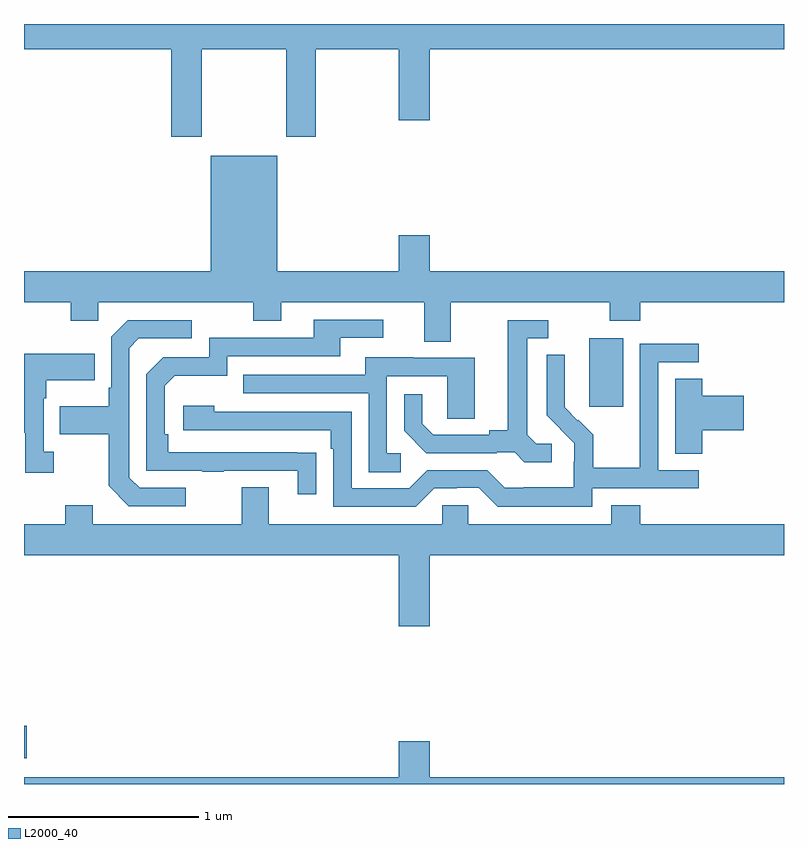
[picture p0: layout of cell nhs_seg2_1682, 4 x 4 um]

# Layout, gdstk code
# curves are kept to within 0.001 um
import gdstk
lib = gdstk.Library(unit=1e-6, precision=1e-09)
def R(c, l, rs):  # rectangles x0, y0, x1, y1
    for r in rs: c.add(gdstk.rectangle(r[:2], r[2:], *l))
def P(c, l, *ps):  # polygons
    for p in ps: c.add(gdstk.Polygon(p, *l))
L2000_40 = (2000, 40)

nhs_seg2_1682 = lib.new_cell('nhs_seg2_1682')
R(nhs_seg2_1682, L2000_40, [(199,611.936,199.015,612.107), (201.974,613.785,202.153,614.146)])
P(nhs_seg2_1682, L2000_40, [(199.935,615.668),(200.38,615.668),(200.38,615.207),(200.535,615.207),(200.535,615.668),(200.972,615.668),(200.972,615.294),(201.136,615.294),(201.136,615.668),(203,615.668),(203,615.8),(199,615.8),(199,615.668),(199.775,615.668),(199.775,615.207),(199.935,615.207)],
  [(201.247,614.336),(202.084,614.336),(202.084,614.237),(202.244,614.237),(202.244,614.336),(203,614.336),(203,614.5),(201.136,614.5),(201.136,614.689),(200.972,614.689),(200.972,614.5),(200.332,614.5),(200.332,615.106),(199.982,615.106),(199.982,614.5),(199,614.5),(199,614.336),(199.246,614.336),(199.246,614.237),(199.392,614.237),(199.392,614.336),(200.206,614.336),(200.206,614.237),(200.353,614.237),(200.353,614.336),(201.107,614.336),(201.107,614.128),(201.247,614.128)],
  [(200.537,613.544),(199.76,613.545),(199.76,613.642),(199.74,613.642),(199.74,613.896),(199.793,613.949),(200.07,613.949),(200.07,614.052),(200.665,614.052),(200.665,614.148),(200.89,614.148),(200.89,614.244),(200.525,614.244),(200.525,614.148),(199.974,614.148),(199.974,614.046),(199.734,614.046),(199.644,613.956),(199.644,613.449),(199.939,613.449),(199.939,613.444),(200.051,613.444),(200.051,613.449),(200.441,613.449),(200.441,613.326),(200.537,613.326)],
  [(199.852,613.359),(199.608,613.359),(199.554,613.413),(199.554,614.094),(199.605,614.145),(199.882,614.145),(199.882,614.241),(199.545,614.241),(199.458,614.154),(199.458,613.885),(199.446,613.885),(199.446,613.789),(199.189,613.789),(199.189,613.642),(199.446,613.642),(199.446,613.369),(199.551,613.263),(199.852,613.263)],
  [(201.778,613.59),(201.696,613.59),(201.649,613.637),(201.649,614.145),(201.76,614.145),(201.76,614.241),(201.545,614.241),(201.545,613.661),(201.449,613.661),(201.449,613.638),(201.154,613.638),(201.097,613.695),(201.097,613.852),(201,613.852),(201,613.658),(201.116,613.542),(201.488,613.542),(201.488,613.545),(201.582,613.545),(201.634,613.493),(201.778,613.493)],
  [(201.99,613.356),(202.552,613.356),(202.552,613.452),(202.338,613.452),(202.338,614.019),(202.552,614.019),(202.552,614.118),(202.242,614.118),(202.242,613.688),(202.24,613.688),(202.24,613.465),(201.995,613.465),(201.995,613.639),(201.918,613.716),(201.915,613.713),(201.845,613.784),(201.846,614.06),(201.75,614.06),(201.75,613.742),(201.896,613.594),(201.896,613.497),(201.894,613.497),(201.894,613.363),(201.631,613.363),(201.631,613.359),(201.531,613.359),(201.438,613.452),(201.123,613.452),(201.027,613.356),(200.724,613.356),(200.724,613.758),(200,613.758),(200,613.792),(199.839,613.792),(199.839,613.662),(200.615,613.662),(200.615,613.565),(200.628,613.565),(200.628,613.26),(201.063,613.26),(201.159,613.356),(201.278,613.356),(201.278,613.359),(201.393,613.359),(201.493,613.259),(201.99,613.259)],
  [(199.156,613.55),(199.104,613.55),(199.104,613.829),(199.117,613.829),(199.117,613.925),(199.373,613.925),(199.373,614.065),(199,614.065),(199,613.649),(199.007,613.649),(199.007,613.437),(199.156,613.437)],
  [(200.983,613.542),(200.91,613.542),(200.91,613.947),(201.228,613.947),(201.228,613.723),(201.373,613.723),(201.373,614.043),(201.049,614.043),(201.049,614.047),(200.795,614.047),(200.795,613.953),(200.155,613.953),(200.155,613.857),(200.814,613.857),(200.814,613.441),(200.983,613.441)],
  [(202.571,613.661),(202.789,613.661),(202.789,613.844),(202.571,613.844),(202.571,613.934),(202.427,613.934),(202.427,613.537),(202.571,613.537)],
  [(201.136,613.004),(203,613.004),(203,613.168),(202.244,613.168),(202.244,613.267),(202.091,613.267),(202.091,613.168),(201.339,613.168),(201.339,613.266),(201.201,613.266),(201.201,613.168),(200.287,613.168),(200.287,613.363),(200.147,613.363),(200.147,613.168),(199.363,613.168),(199.363,613.267),(199.216,613.267),(199.216,613.168),(199,613.168),(199,613.004),(200.972,613.004),(200.972,612.63),(201.136,612.63)],
  [(203,611.836),(201.136,611.836),(201.136,612.025),(200.972,612.025),(200.972,611.836),(199,611.836),(199,611.8),(203,611.8)])

lib.write_gds('nhs_seg2_1682.gds')
